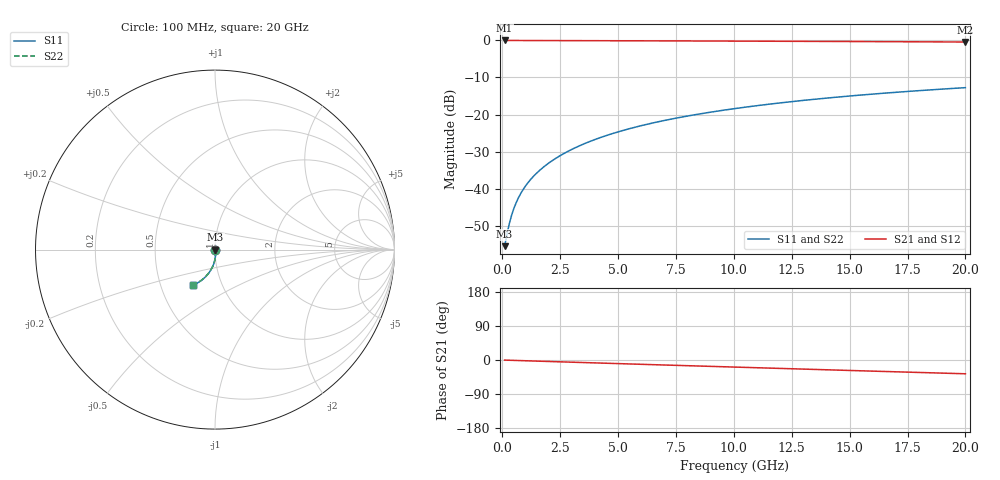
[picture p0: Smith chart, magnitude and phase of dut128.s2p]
! Touchstone file exported from HFSS 2026.1.0
!  File:  C:/ffzhzh/LocalFiles/Ansys_Project_Files/temp_train_TMRDL_128_1782982743_42984.aedt
!  Generated:  05:00:08 PM Jul  2, 2026
!  Design:  TMRDL
!  Project:  temp_train_TMRDL_128_1782982743_42984
! Variables:
!  h_bsmrdl = 2um
!  h_ox = 20um
!  h_rdl = 5um
!  h_sub = 80um
!  h_tmrdl = 5.93um
!  h_tsv = 80um
!  h_via = 3um
!  l_bsmrdl = 300um
!  l_sub = 1005.8um
!  l_tmrdl = 605.8um
!  m_sub = 200um
!  pitch = 32.27um
!  r_tsv = 6um
!  s_tmrdl = 10um
!  w_bsmrdl = 18um
!  w_sub = 500um
!  w_tmrdl = 29.84um
!  x_tsv_center1 = 620.72um
!  x_tsv_center2 = 938.72um
!  x_tsv_center3 = 1574.36um
!  x_tsv_center4 = 1892.36um
!  x_tsv_center5 = 2528um
!  x_tsv_center6 = 2846um
# GHz S MA R 50.000000
! Terminal data exported
! Port[1] = TM_RDL1_1_T1
! Port[2] = TM_RDL1_1_T2
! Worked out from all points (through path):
!   200 points, 100 MHz to 20 GHz, reference 50 ohm
!   highest |S21| = -0.01 dB at 100 MHz (marker M1); lowest = -0.4 dB at 20 GHz (marker M2)
!   group delay of S21, straight-line fit = 5.03 ps
!   lowest |S11| = -55.5 dB at 100 MHz (marker M3), VSWR 1.00, Z = 50.2 - j0.044 ohm
!   |S11| at or under -10 dB: start of sweep to end of sweep
!   |S22| runs from -55.5 to -12.7 dB; largest |S21 - S12| = 3.4e-15
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0.1  0.001678 -15.1  0.9984 -0.2  0.9984 -0.2  0.001678 -15.1
! Gamma 0 0 0 0
! Port Impedance 50 0 50 0
0.2  0.002407 -30.3  0.9979 -0.4  0.9979 -0.4  0.002407 -30.3
0.3  0.003344 -42.4  0.9975 -0.6  0.9975 -0.6  0.003343 -42.4
0.4  0.004363 -51.1  0.9972 -0.8  0.9972 -0.8  0.004363 -51.1
0.5  0.005418 -57.4  0.997 -1.0  0.997 -1.0  0.005418 -57.4
0.6  0.006489 -62.1  0.9968 -1.2  0.9968 -1.2  0.006488 -62.1
0.8  0.008656 -68.4  0.9966 -1.6  0.9966 -1.6  0.008656 -68.4
1.1  0.01195 -74.0  0.9962 -2.2  0.9962 -2.2  0.01195 -74.0
1.5  0.01641 -78.2  0.9957 -3.0  0.9957 -3.0  0.01641 -78.2
1.8  0.01981 -80.2  0.9953 -3.5  0.9953 -3.5  0.0198 -80.3
2.1  0.02325 -81.8  0.9948 -4.1  0.9948 -4.1  0.02325 -81.8
2.7  0.03029 -84.2  0.9938 -5.2  0.9938 -5.2  0.03029 -84.3
3.5  0.03991 -86.8  0.9923 -6.7  0.9923 -6.7  0.03991 -86.8
4.2  0.04848 -88.7  0.991 -8.1  0.991 -8.1  0.04848 -88.8
5  0.05838 -90.8  0.9894 -9.5  0.9894 -9.5  0.05837 -90.9
5.9  0.06956 -93.1  0.9877 -11.2  0.9877 -11.2  0.06955 -93.1
6.8  0.08073 -95.2  0.9859 -12.8  0.9859 -12.8  0.08072 -95.3
8.3  0.09922 -98.6  0.9829 -15.6  0.9829 -15.6  0.0992 -98.7
10.1  0.1211 -102.5  0.9789 -18.9  0.9789 -18.9  0.121 -102.5
13.4  0.1598 -109.1  0.9707 -24.8  0.9707 -24.8  0.1598 -109.2
16.7  0.1965 -115.4  0.9614 -30.6  0.9614 -30.6  0.1964 -115.5
20  0.2305 -121.5  0.9513 -36.4  0.9513 -36.4  0.2304 -121.6
